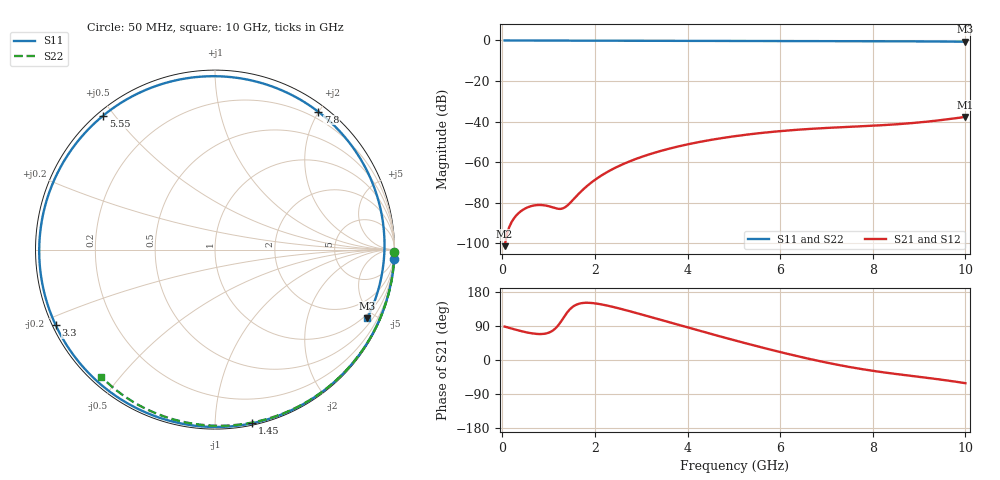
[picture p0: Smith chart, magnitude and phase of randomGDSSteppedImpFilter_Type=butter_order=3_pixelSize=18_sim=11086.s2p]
! freq	dB(S11)	phase(S11)	dB(S12)	phase(S12)
!  dB(S21)	phase(S21)	dB(S22)	phase(S22)
!S-par simulation data
#  GHz  S  DB  R 50
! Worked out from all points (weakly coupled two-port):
!   200 points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, 50 MHz to 10 GHz, reference 50 ohm
!   highest |S21| = -37.69 dB at 10 GHz (marker M1); lowest = -101.4 dB at 50 MHz (marker M2)
!   lowest |S11| = -0.6 dB at 10 GHz (marker M3), VSWR 27.52, Z = 39.7 - j225 ohm
!   |S11| at or under -10 dB: nowhere
!   |S22| runs from -0.4 to 0.0 dB; largest |S21 - S12| = 0
!   S11 on the Smith chart (normalised r, x): 50 MHz: 0, -40; 1.45 GHz: 0.01, -1.24; 3.3 GHz: 0.01, -0.23; 5.55 GHz: 0.02, +0.47; 7.8 GHz: 0.10, +1.99; 10 GHz: 0.79, -4.50
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0.05  -0.00 -2.9  -101.41 88.2  -101.41 88.2  -0.00 -0.8
0.4  -0.03 -22.7  -84.20 76.4  -84.20 76.4  -0.01 -6.1
0.8  -0.06 -44.7  -81.10 68.5  -81.10 68.5  -0.02 -12.1
1.15  -0.08 -63.0  -82.71 83.6  -82.71 83.6  -0.02 -17.4
1.45  -0.09 -78.0  -80.42 132.6  -80.42 132.6  -0.03 -21.8
1.75  -0.10 -92.1  -73.38 150.6  -73.38 150.6  -0.03 -26.3
2.05  -0.12 -105.5  -67.93 148.6  -67.93 148.6  -0.04 -30.7
2.4  -0.13 -120.2  -63.22 139.8  -63.22 139.8  -0.05 -35.8
2.85  -0.14 -137.9  -58.71 125.5  -58.71 125.5  -0.05 -42.3
3.3  -0.16 -154.6  -55.26 110.1  -55.26 110.1  -0.06 -48.6
3.4  -0.16 -158.1  -54.60 106.7  -54.60 106.7  -0.07 -50.0
4.2  -0.19 174.4  -50.30 79.2  -50.30 79.2  -0.09 -61.1
5.05  -0.22 146.3  -47.11 50.8  -47.11 50.8  -0.11 -72.4
5.55  -0.25 129.9  -45.71 34.8  -45.71 34.8  -0.13 -78.9
6.15  -0.27 110.0  -44.42 16.5  -44.42 16.5  -0.15 -86.5
6.7  -0.30 91.4  -43.52 1.0  -43.52 1.0  -0.18 -93.3
7.25  -0.33 72.5  -42.84 -12.9  -42.84 -12.9  -0.21 -100.0
7.8  -0.36 53.2  -42.25 -24.7  -42.25 -24.7  -0.25 -106.5
8.35  -0.39 33.8  -41.57 -34.5  -41.57 -34.5  -0.29 -112.9
8.8  -0.44 17.9  -40.82 -41.5  -40.82 -41.5  -0.32 -118.1
9.2  -0.48 3.8  -39.96 -47.5  -39.96 -47.5  -0.36 -122.7
10  -0.63 -24.4  -37.69 -61.2  -37.69 -61.2  -0.44 -131.8
